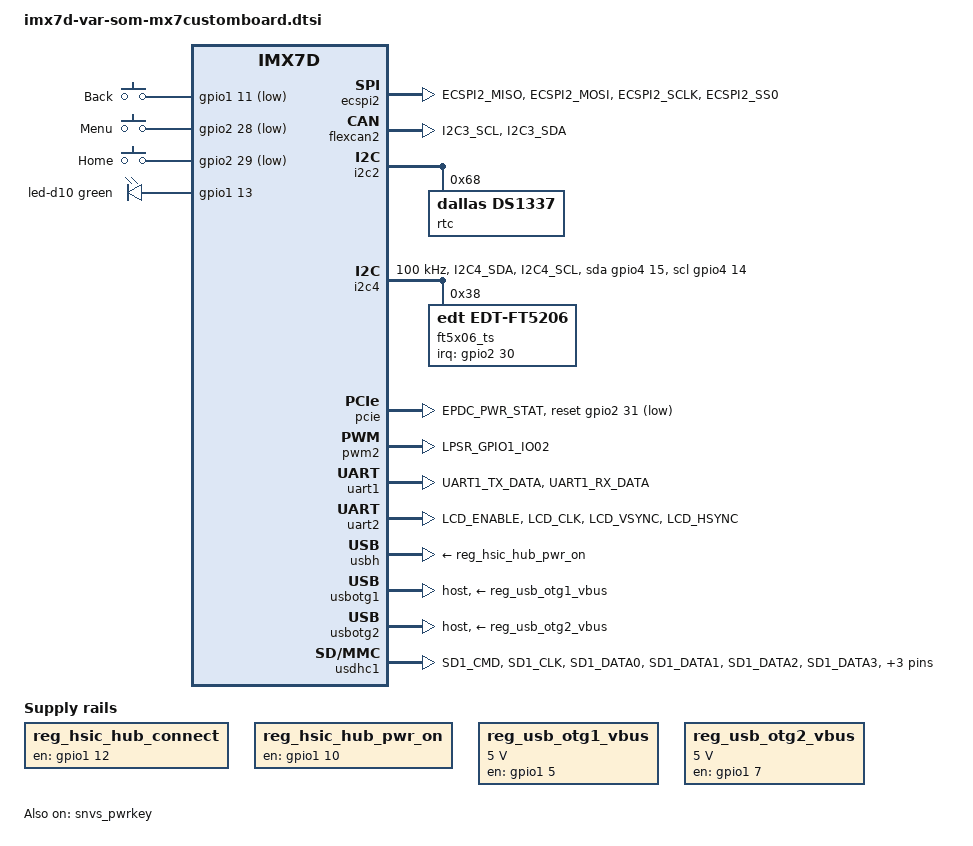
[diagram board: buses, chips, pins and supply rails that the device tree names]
// SPDX-License-Identifier: (GPL-2.0+ OR MIT)
/*
 * Variscite VAR-MX7CustomBoard carrier board for VAR-SOM-MX7
 *
 * Link: https://variscite.com/carrier-boards/var-mx7customboard/
 *
 * Copyright (C) 2026 Variscite Ltd. - https://www.variscite.com/
 *
 */

/ {
	chosen {
		stdout-path = &uart1;
	};

	gpio-keys {
		compatible = "gpio-keys";
		pinctrl-names = "default";
		pinctrl-0 = <&pinctrl_gpio_keys>;

		key-back {
			label = "Back";
			gpios = <&gpio1 11 GPIO_ACTIVE_LOW>;
			linux,code = <KEY_BACK>;
		};

		key-menu {
			label = "Menu";
			gpios = <&gpio2 28 GPIO_ACTIVE_LOW>;
			linux,code = <KEY_MENU>;
		};

		key-home {
			label = "Home";
			gpios = <&gpio2 29 GPIO_ACTIVE_LOW>;
			linux,code = <KEY_HOME>;
		};
	};

	leds {
		compatible = "gpio-leds";
		pinctrl-names = "default";
		pinctrl-0 = <&pinctrl_gpio_leds>;

		led-d10 {
			function = LED_FUNCTION_STATUS;
			color = <LED_COLOR_ID_GREEN>;
			gpios = <&gpio1 13 GPIO_ACTIVE_HIGH>;
			linux,default-trigger = "heartbeat";
		};
	};

	reg_hsic_hub_connect: regulator-hsic-hub-connect {
		compatible = "regulator-fixed";
		pinctrl-names = "default";
		pinctrl-0 = <&pinctrl_hsic_hub_connect>;
		regulator-name = "reg_hsic_hub_connect";
		gpio = <&gpio1 12 GPIO_ACTIVE_HIGH>;
		enable-active-high;
		regulator-always-on;
	};

	reg_hsic_hub_pwr_on: regulator-hsic-hub-pwr-on {
		compatible = "regulator-fixed";
		pinctrl-names = "default";
		pinctrl-0 = <&pinctrl_hsic_hub_pwr>;
		regulator-name = "hsic_hub_pwr_on";
		gpio = <&gpio1 10 GPIO_ACTIVE_HIGH>;
		enable-active-high;
	};

	reg_usb_otg1_vbus: regulator-otg1-vbus {
		compatible = "regulator-fixed";
		pinctrl-names = "default";
		pinctrl-0 = <&pinctrl_usbotg1_pwr>;
		regulator-name = "usb_otg1_vbus";
		regulator-min-microvolt = <5000000>;
		regulator-max-microvolt = <5000000>;
		gpio = <&gpio1 5 GPIO_ACTIVE_HIGH>;
		enable-active-high;
	};

	reg_usb_otg2_vbus: regulator-otg2-vbus {
		compatible = "regulator-fixed";
		pinctrl-names = "default";
		pinctrl-0 = <&pinctrl_usbotg2_pwr>;
		regulator-name = "usb_otg2_vbus";
		regulator-min-microvolt = <5000000>;
		regulator-max-microvolt = <5000000>;
		gpio = <&gpio1 7 GPIO_ACTIVE_HIGH>;
		enable-active-high;
	};
};

&clks {
	assigned-clocks = <&clks IMX7D_PLL_AUDIO_POST_DIV>;
	assigned-clock-rates = <884736000>;
};

&ecspi2 {
	pinctrl-names = "default";
	pinctrl-0 = <&pinctrl_ecspi2>;
	cs-gpios = <&gpio4 23 GPIO_ACTIVE_LOW>;
	status = "okay";
};

&flexcan2 {
	pinctrl-names = "default";
	pinctrl-0 = <&pinctrl_flexcan2>;
	status = "okay";
};

&i2c2 {
	/* DS1337 RTC module */
	rtc@68 {
		compatible = "dallas,ds1337";
		reg = <0x68>;
	};
};

&i2c4 {
	clock-frequency = <100000>;
	pinctrl-names = "default", "gpio";
	pinctrl-0 = <&pinctrl_i2c4>;
	pinctrl-1 = <&pinctrl_i2c4_gpio>;
	scl-gpios = <&gpio4 14 (GPIO_ACTIVE_HIGH | GPIO_OPEN_DRAIN)>;
	sda-gpios = <&gpio4 15 (GPIO_ACTIVE_HIGH | GPIO_OPEN_DRAIN)>;
	status = "okay";

	ft5x06_ts: touchscreen@38 {
		compatible = "edt,edt-ft5206";
		reg = <0x38>;
		pinctrl-names = "default";
		pinctrl-0 = <&pinctrl_touch>;
		interrupt-parent = <&gpio2>;
		interrupts = <30 IRQ_TYPE_EDGE_FALLING>;
		touchscreen-size-x = <800>;
		touchscreen-size-y = <480>;
		touchscreen-inverted-x;
		touchscreen-inverted-y;
	};
};

&pcie {
	pinctrl-names = "default";
	pinctrl-0 = <&pinctrl_pcie>;
	reset-gpios = <&gpio2 31 GPIO_ACTIVE_LOW>;
	status = "okay";
};

&pwm2 {
	pinctrl-names = "default";
	pinctrl-0 = <&pinctrl_pwm2>;
	status = "okay";
};

&snvs_poweroff {
	status = "okay";
};

&snvs_pwrkey {
	status = "okay";
};

&snvs_rtc {
	status = "disabled";
};

/* DEBUG */
&uart1 {
	pinctrl-names = "default", "sleep";
	pinctrl-0 = <&pinctrl_uart1>;
	pinctrl-1 = <&pinctrl_uart1_sleep>;
	assigned-clocks = <&clks IMX7D_UART1_ROOT_SRC>;
	assigned-clock-parents = <&clks IMX7D_OSC_24M_CLK>;
	status = "okay";
};

&uart2 {
	pinctrl-names = "default";
	pinctrl-0 = <&pinctrl_uart2>;
	assigned-clocks = <&clks IMX7D_UART2_ROOT_SRC>;
	assigned-clock-parents = <&clks IMX7D_OSC_24M_CLK>;
	uart-has-rtscts;
	status = "okay";
};

&usbh {
	disable-over-current;
	vbus-supply = <&reg_hsic_hub_pwr_on>;
	status = "okay";
};

&usbotg1 {
	dr_mode = "host";
	disable-over-current;
	vbus-supply = <&reg_usb_otg1_vbus>;
	status = "okay";
};

&usbotg2 {
	dr_mode = "host";
	disable-over-current;
	vbus-supply = <&reg_usb_otg2_vbus>;
	status = "okay";
};

&usdhc1 {
	pinctrl-names = "default";
	pinctrl-0 = <&pinctrl_usdhc1>, <&pinctrl_usdhc1_gpio>;
	cd-gpios = <&gpio5 0 GPIO_ACTIVE_LOW>;
	no-1-8-v;
	keep-power-in-suspend;
	status = "okay";
};

&wdog1 {
	pinctrl-names = "default";
	pinctrl-0 = <&pinctrl_wdog>;
	fsl,ext-reset-output;
};

&iomuxc {
	pinctrl_gpio_keys: gpio-keysgrp {
		fsl,pins = <
			MX7D_PAD_EPDC_BDR0__GPIO2_IO28		0x32
			MX7D_PAD_EPDC_BDR1__GPIO2_IO29		0x32
			MX7D_PAD_GPIO1_IO11__GPIO1_IO11		0x32
		>;
	};

	pinctrl_gpio_leds: gpio-ledsgrp {
		fsl,pins = <
			MX7D_PAD_GPIO1_IO13__GPIO1_IO13		0x59
		>;
	};

	pinctrl_ecspi2: ecspi2grp {
		fsl,pins = <
			MX7D_PAD_ECSPI2_MISO__ECSPI2_MISO	0x2
			MX7D_PAD_ECSPI2_MOSI__ECSPI2_MOSI	0x2
			MX7D_PAD_ECSPI2_SCLK__ECSPI2_SCLK	0x2
			MX7D_PAD_ECSPI2_SS0__GPIO4_IO23		0x2
		>;
	};

	pinctrl_flexcan2: flexcan2grp {
		fsl,pins = <
			MX7D_PAD_I2C3_SCL__FLEXCAN2_RX		0x59
			MX7D_PAD_I2C3_SDA__FLEXCAN2_TX		0x59
		>;
	};

	pinctrl_hsic_hub_connect: hsichubconnectgrp {
		fsl,pins = <
			MX7D_PAD_GPIO1_IO12__GPIO1_IO12		0x59
		>;
	};

	pinctrl_hsic_hub_pwr: hsichubpwrgrp {
		fsl,pins = <
			MX7D_PAD_GPIO1_IO10__GPIO1_IO10		0x59
		>;
	};

	pinctrl_i2c4: i2c4grp {
		fsl,pins = <
			MX7D_PAD_I2C4_SDA__I2C4_SDA		0x4000007f
			MX7D_PAD_I2C4_SCL__I2C4_SCL		0x4000007f
		>;
	};

	pinctrl_i2c4_gpio: i2c4gpiogrp {
		fsl,pins = <
			MX7D_PAD_I2C4_SDA__GPIO4_IO15		0x4000007f
			MX7D_PAD_I2C4_SCL__GPIO4_IO14		0x4000007f
		>;
	};

	pinctrl_pcie: pciegrp {
		fsl,pins = <
			MX7D_PAD_EPDC_PWR_STAT__GPIO2_IO31	0x79
		>;
	};

	pinctrl_touch: touchgrp {
		fsl,pins = <
			MX7D_PAD_EPDC_PWR_COM__GPIO2_IO30	0x80000000
		>;
	};

	pinctrl_uart1: uart1grp {
		fsl,pins = <
			MX7D_PAD_UART1_TX_DATA__UART1_DCE_TX	0x79
			MX7D_PAD_UART1_RX_DATA__UART1_DCE_RX	0x79
		>;
	};

	pinctrl_uart1_sleep: uart1sleep-grp {
		fsl,pins = <
			MX7D_PAD_UART1_TX_DATA__GPIO4_IO1	0x10
			MX7D_PAD_UART1_RX_DATA__GPIO4_IO0	0x10
		>;
	};

	pinctrl_uart2: uart2grp {
		fsl,pins = <
			MX7D_PAD_LCD_ENABLE__UART2_DCE_TX	0x79
			MX7D_PAD_LCD_CLK__UART2_DCE_RX		0x79
			MX7D_PAD_LCD_VSYNC__UART2_DCE_CTS	0x79
			MX7D_PAD_LCD_HSYNC__UART2_DCE_RTS	0x79
		>;
	};

	pinctrl_usdhc1_gpio: usdhc1-gpiogrp {
		fsl,pins = <
			MX7D_PAD_SD1_CD_B__GPIO5_IO0		0x59
			MX7D_PAD_GPIO1_IO08__SD1_VSELECT	0x59
		>;
	};

	pinctrl_usdhc1: usdhc1grp {
		fsl,pins = <
			MX7D_PAD_SD1_CMD__SD1_CMD		0x59
			MX7D_PAD_SD1_CLK__SD1_CLK		0x19
			MX7D_PAD_SD1_DATA0__SD1_DATA0		0x59
			MX7D_PAD_SD1_DATA1__SD1_DATA1		0x59
			MX7D_PAD_SD1_DATA2__SD1_DATA2		0x59
			MX7D_PAD_SD1_DATA3__SD1_DATA3		0x59
		>;
	};
};

&iomuxc_lpsr {
	pinctrl_pwm2: pwm2grp {
		fsl,pins = <
			MX7D_PAD_LPSR_GPIO1_IO02__PWM2_OUT	0x110b0
		>;
	};

	pinctrl_usbotg1_pwr: usbotg1pwrgrp {
		fsl,pins = <
			MX7D_PAD_LPSR_GPIO1_IO05__GPIO1_IO5	0x14
		>;
	};

	pinctrl_usbotg2_pwr: usbotg2pwrgrp {
		fsl,pins = <
			MX7D_PAD_LPSR_GPIO1_IO07__GPIO1_IO7	0x14
		>;
	};

	pinctrl_wdog: wdoggrp {
		fsl,pins = <
			MX7D_PAD_LPSR_GPIO1_IO00__WDOG1_WDOG_B	0x74
		>;
	};
};
